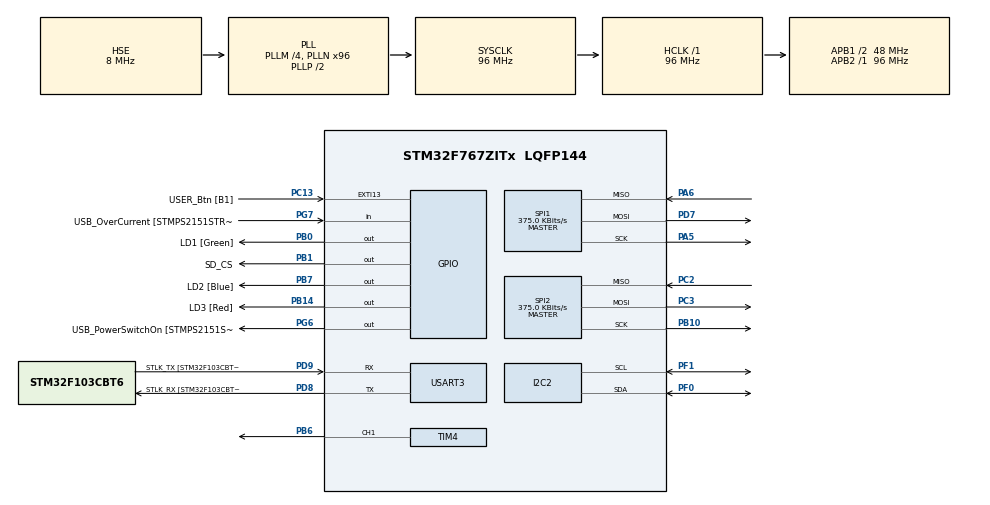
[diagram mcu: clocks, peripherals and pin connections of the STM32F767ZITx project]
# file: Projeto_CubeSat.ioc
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FATFS._FS_REENTRANT=0
FATFS._USE_MUTEX=1
FREERTOS.Tasks01=defaultTask,24,128,StartDefaultTask,Default,NULL,Dynamic,NULL,NULL;BaroTask,32,512,StartBaroTask,Default,NULL,Dynamic,NULL,NULL;LoggerTask,16,512,StartLoggerTask,Default,NULL,Dynamic,NULL,NULL;CommTask,33,512,StartCommTask,Default,NULL,Dynamic,NULL,NULL;BuzzerTask,8,128,StartBuzzerTask,Default,NULL,Dynamic,NULL,NULL;CommandTask,38,512,StartCommandTask,Default,NULL,Dynamic,NULL,NULL;CriticalCommand,40,512,StartCriticalCommandTask,Default,NULL,Dynamic,NULL,NULL;GyroTask,32,512,StartGyroTask,Default,NULL,Dynamic,NULL,NULL;AccTask,32,128,StartAccTask,Default,NULL,Dynamic,NULL,NULL
FREERTOS.configTOTAL_HEAP_SIZE=24576
FREERTOS.configUSE_NEWLIB_REENTRANT=1
I2C2.Timing=0x20303E5D
Mcu.Family=STM32F7
Mcu.Name=STM32F767ZITx
Mcu.Package=LQFP144
NVIC.EXTI15_10_IRQn=true\:5\:0\:false\:false\:true\:true\:true\:true\:true
NVIC.PriorityGroup=NVIC_PRIORITYGROUP_4
NVIC.TIM3_IRQn=true\:5\:0\:false\:false\:true\:true\:true\:true\:true
NVIC.TIM6_DAC_IRQn=true\:15\:0\:false\:false\:true\:false\:false\:true\:true
NVIC.TimeBase=TIM6_DAC_IRQn
NVIC.TimeBaseIP=TIM6
NVIC.USART3_IRQn=true\:5\:0\:false\:false\:true\:true\:true\:true\:true
PA1.GPIO_Label=RMII_REF_CLK [LAN8742A-CZ-TR_REFCLK0]
PA1.Signal=ETH_REF_CLK
PA10.GPIO_Label=USB_ID
PA10.Signal=USB_OTG_FS_ID
PA11.GPIO_Label=USB_DM
PA11.Signal=USB_OTG_FS_DM
PA12.GPIO_Label=USB_DP
PA12.Signal=USB_OTG_FS_DP
PA13.GPIO_Label=TMS
PA13.Signal=SYS_JTMS-SWDIO
PA14.GPIO_Label=TCK
PA14.Signal=SYS_JTCK-SWCLK
PA2.GPIO_Label=RMII_MDIO [LAN8742A-CZ-TR_MDIO]
PA2.Signal=ETH_MDIO
PA5.Mode=Full_Duplex_Master
PA5.Signal=SPI1_SCK
PA6.Mode=Full_Duplex_Master
PA6.Signal=SPI1_MISO
PA7.GPIO_Label=RMII_CRS_DV [LAN8742A-CZ-TR_CRS_DV]
PA7.Signal=ETH_CRS_DV
PA8.Signal=USB_OTG_FS_SOF
PA9.GPIO_Label=USB_VBUS
PA9.Signal=USB_OTG_FS_VBUS
PB0.GPIO_Label=LD1 [Green]
PB0.Signal=GPIO_Output
PB1.GPIO_Label=SD_CS
PB1.Signal=GPIO_Output
PB10.Mode=Full_Duplex_Master
PB10.Signal=SPI2_SCK
PB13.GPIO_Label=RMII_TXD1 [LAN8742A-CZ-TR_TXD1]
PB13.Signal=ETH_TXD1
PB14.GPIO_Label=LD3 [Red]
PB14.Signal=GPIO_Output
PB3.GPIO_Label=SW0
PB3.Signal=SYS_JTDO-SWO
PB6.Signal=S_TIM4_CH1
PB7.GPIO_Label=LD2 [Blue]
PB7.Signal=GPIO_Output
PC1.GPIO_Label=RMII_MDC [LAN8742A-CZ-TR_MDC]
PC1.Signal=ETH_MDC
PC13.GPIO_Label=USER_Btn [B1]
PC13.Signal=GPXTI13
PC14/OSC32_IN.Mode=LSE-External-Oscillator
PC14/OSC32_IN.Signal=RCC_OSC32_IN
PC15/OSC32_OUT.Mode=LSE-External-Oscillator
PC15/OSC32_OUT.Signal=RCC_OSC32_OUT
PC2.Mode=Full_Duplex_Master
PC2.Signal=SPI2_MISO
PC3.Mode=Full_Duplex_Master
PC3.Signal=SPI2_MOSI
PC4.GPIO_Label=RMII_RXD0 [LAN8742A-CZ-TR_RXD0]
PC4.Signal=ETH_RXD0
PC5.GPIO_Label=RMII_RXD1 [LAN8742A-CZ-TR_RXD1]
PC5.Signal=ETH_RXD1
PD7.Mode=Full_Duplex_Master
PD7.Signal=SPI1_MOSI
PD8.GPIO_Label=STLK_RX [STM32F103CBT6_PA3]
PD8.Mode=Asynchronous
PD8.Signal=USART3_TX
PD9.GPIO_Label=STLK_TX [STM32F103CBT6_PA2]
PD9.Mode=Asynchronous
PD9.Signal=USART3_RX
PF0.Mode=I2C
PF0.Signal=I2C2_SDA
PF1.Mode=I2C
PF1.Signal=I2C2_SCL
PG11.GPIO_Label=RMII_TX_EN [LAN8742A-CZ-TR_TXEN]
PG11.Signal=ETH_TX_EN
PG13.GPIO_Label=RMII_TXD0 [LAN8742A-CZ-TR_TXD0]
PG13.Signal=ETH_TXD0
PG6.GPIO_Label=USB_PowerSwitchOn [STMPS2151STR_EN]
PG6.Signal=GPIO_Output
PG7.GPIO_Label=USB_OverCurrent [STMPS2151STR_FAULT]
PG7.Signal=GPIO_Input
PH0/OSC_IN.GPIO_Label=MCO [STM32F103CBT6_PA8]
PH0/OSC_IN.Mode=HSE-External-Clock-Source
PH0/OSC_IN.Signal=RCC_OSC_IN
PH1/OSC_OUT.Mode=HSE-External-Clock-Source
PH1/OSC_OUT.Signal=RCC_OSC_OUT
ProjectManager.HeapSize=0x200
ProjectManager.StackSize=0x400
ProjectManager.TargetToolchain=STM32CubeIDE
RCC.48MHZClocksFreq_Value=24000000
RCC.AHBFreq_Value=96000000
RCC.APB1CLKDivider=RCC_HCLK_DIV2
RCC.APB1Freq_Value=48000000
RCC.APB1TimFreq_Value=96000000
RCC.APB2Freq_Value=96000000
RCC.APB2TimFreq_Value=96000000
RCC.CortexFreq_Value=96000000
RCC.HCLKFreq_Value=96000000
RCC.HSE_VALUE=8000000
RCC.HSI_VALUE=16000000
RCC.PLLM=4
RCC.PLLMUL=RCC_PLL_MUL9
RCC.PLLN=96
RCC.PLLSourceVirtual=RCC_PLLSOURCE_HSE
RCC.PRESCALERUSB=RCC_USBCLKSOURCE_PLL_DIV1_5
RCC.SYSCLKFreq_VALUE=96000000
RCC.SYSCLKSource=RCC_SYSCLKSOURCE_PLLCLK
RCC.SYSCLKSourceVirtual=RCC_SYSCLKSOURCE_PLLCLK
RCC.USBFreq_Value=96000000
RCC.VCOOutputFreq_Value=192000000
SH.S_TIM4_CH1.0=TIM4_CH1,PWM Generation1 CH1
SPI1.BaudRatePrescaler=SPI_BAUDRATEPRESCALER_256
SPI1.CalculateBaudRate=375.0 KBits/s
SPI1.DataSize=SPI_DATASIZE_8BIT
SPI1.Direction=SPI_DIRECTION_2LINES
SPI1.Mode=SPI_MODE_MASTER
SPI1.VirtualType=VM_MASTER
SPI2.BaudRatePrescaler=SPI_BAUDRATEPRESCALER_128
SPI2.CalculateBaudRate=375.0 KBits/s
SPI2.DataSize=SPI_DATASIZE_8BIT
SPI2.Direction=SPI_DIRECTION_2LINES
SPI2.Mode=SPI_MODE_MASTER
SPI2.VirtualType=VM_MASTER
TIM3.AutoReloadPreload=TIM_AUTORELOAD_PRELOAD_ENABLE
TIM3.Period=1500
TIM3.Prescaler=16000
TIM4.Channel-PWM\ Generation1\ CH1=TIM_CHANNEL_1
TIM4.Period=999
TIM4.Prescaler=15
USART3.VirtualMode-Asynchronous=VM_ASYNC
VP_FATFS_VS_Generic.Mode=User_defined
VP_FREERTOS_VS_CMSIS_V2.Mode=CMSIS_V2
VP_SYS_VS_tim6.Mode=TIM6
VP_TIM3_VS_ClockSourceINT.Mode=Internal
VP_TIM4_VS_ClockSourceINT.Mode=Internal
board=NUCLEO-F767ZI

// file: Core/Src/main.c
/* USER CODE BEGIN Header */
/**
  ******************************************************************************
  * @file           : main.c
  * @brief          : Main program body
  ******************************************************************************
  * @attention
  *
  * Copyright (c) 2025 STMicroelectronics.
  * All rights reserved.
  *
  * This software is licensed under terms that can be found in the LICENSE file
  * in the root directory of this software component.
  * If no LICENSE file comes with this software, it is provided AS-IS.
  *
  ******************************************************************************
  */
/* USER CODE END Header */
#include "main.h"
#include "cmsis_os.h"
#include "fatfs.h"

/* USER CODE BEGIN Includes */
#include <stdio.h>
#include <math.h>
#include "bmp280.h"
#include <string.h>
#include <stdarg.h>
#include "LoggerService.h"
#include "Barometer.h"
#include "Accelerometer.h"
#include "Gyroscope.h"
#include "UartService.h"
#include "SDCard.h"
/* USER CODE END Includes */

I2C_HandleTypeDef hi2c2;

SPI_HandleTypeDef hspi1;
SPI_HandleTypeDef hspi2;

TIM_HandleTypeDef htim3;
TIM_HandleTypeDef htim4;

UART_HandleTypeDef huart3;

/* Definitions for defaultTask */
osThreadId_t defaultTaskHandle;
const osThreadAttr_t defaultTask_attributes = {
  .name = "defaultTask",
  .stack_size = 128 * 4,
  .priority = (osPriority_t) osPriorityNormal,
};
/* Definitions for BaroTask */
osThreadId_t BaroTaskHandle;
const osThreadAttr_t BaroTask_attributes = {
  .name = "BaroTask",
  .stack_size = 512 * 4,
  .priority = (osPriority_t) osPriorityAboveNormal,
};
/* Definitions for LoggerTask */
osThreadId_t LoggerTaskHandle;
const osThreadAttr_t LoggerTask_attributes = {
  .name = "LoggerTask",
  .stack_size = 512 * 4,
  .priority = (osPriority_t) osPriorityBelowNormal,
};
/* Definitions for CommTask */
osThreadId_t CommTaskHandle;
const osThreadAttr_t CommTask_attributes = {
  .name = "CommTask",
  .stack_size = 512 * 4,
  .priority = (osPriority_t) osPriorityAboveNormal1,
};
/* Definitions for BuzzerTask */
osThreadId_t BuzzerTaskHandle;
const osThreadAttr_t BuzzerTask_attributes = {
  .name = "BuzzerTask",
  .stack_size = 128 * 4,
  .priority = (osPriority_t) osPriorityLow,
};
/* Definitions for CommandTask */
osThreadId_t CommandTaskHandle;
const osThreadAttr_t CommandTask_attributes = {
  .name = "CommandTask",
  .stack_size = 512 * 4,
  .priority = (osPriority_t) osPriorityAboveNormal6,
};
/* Definitions for CriticalCommand */
osThreadId_t CriticalCommandHandle;
const osThreadAttr_t CriticalCommand_attributes = {
  .name = "CriticalCommand",
  .stack_size = 512 * 4,
  .priority = (osPriority_t) osPriorityHigh,
};
/* Definitions for GyroTask */
osThreadId_t GyroTaskHandle;
const osThreadAttr_t GyroTask_attributes = {
  .name = "GyroTask",
  .stack_size = 512 * 4,
  .priority = (osPriority_t) osPriorityAboveNormal,
};
/* Definitions for AccTask */
osThreadId_t AccTaskHandle;
const osThreadAttr_t AccTask_attributes = {
  .name = "AccTask",
  .stack_size = 128 * 4,
  .priority = (osPriority_t) osPriorityAboveNormal,
};
/* USER CODE BEGIN PV */
BMP280_HandleTypedef bmp280;
float pressure, temperature, humidity;
uint16_t size;
volatile bool buzzer_enabled = true;
osMessageQueueId_t loggerQueueHandle;
osMessageQueueId_t commQueueHandle;
osMessageQueueId_t uartQueueHandle;
osMessageQueueId_t commandQueueHandle;
osMessageQueueId_t criticalCommandQueueHandle;
osMutexId_t sdMutexHandle;
uint8_t rx_byte;
uint8_t sat_location = 1; // 1 = terra, 2 = em lançamento, 3 = em órbita
/* USER CODE END PV */

void SystemClock_Config(void);
static void MX_GPIO_Init(void);
static void MX_USART3_UART_Init(void);
static void MX_TIM3_Init(void);
static void MX_I2C2_Init(void);
static void MX_SPI2_Init(void);
static void MX_TIM4_Init(void);
static void MX_SPI1_Init(void);
void StartDefaultTask(void *argument);
void StartBaroTask(void *argument);
void StartLoggerTask(void *argument);
void StartCommTask(void *argument);
void StartBuzzerTask(void *argument);
void StartCommandTask(void *argument);
void StartCriticalCommandTask(void *argument);
void StartGyroTask(void *argument);
void StartAccTask(void *argument);

/* USER CODE BEGIN PFP */
bool ReadBarometer();
/* USER CODE END PFP */

/* USER CODE BEGIN 0 */
int _write(int file, char *ptr, int len){
	(void)file;
	int DataIdx;

	for (DataIdx = 0; DataIdx < len; DataIdx++)
		HAL_UART_Transmit(&huart3, (uint8_t*) &ptr[DataIdx], 1, 100);

	return len;
}
/* USER CODE END 0 */

int main(void)
{

  /* MCU Configuration--------------------------------------------------------*/

  /* Reset of all peripherals, Initializes the Flash interface and the Systick. */
  HAL_Init();

  /* Configure the system clock */
  SystemClock_Config();

  /* Initialize all configured peripherals */
  MX_GPIO_Init();
  MX_USART3_UART_Init();
  MX_TIM3_Init();
  MX_I2C2_Init();
  MX_SPI2_Init();
  MX_TIM4_Init();
  MX_FATFS_Init();
  MX_SPI1_Init();
  /* USER CODE BEGIN 2 */
  Barometer_Init(&hi2c2);
  HAL_TIM_Base_Start_IT(&htim3);
  if (!SDCard_Init()) {
      printf("Failed to initialize SD card\r\n");
  } else {
      printf("SD card initialized\r\n");
  }
  HAL_UART_Receive_IT(&huart3, &rx_byte, 1);
  /* USER CODE END 2 */

  /* Init scheduler */
  osKernelInitialize();

  /* USER CODE BEGIN RTOS_MUTEX */
  sdMutexHandle = osMutexNew(NULL);
  /* USER CODE END RTOS_MUTEX */

  /* USER CODE BEGIN RTOS_QUEUES */
  loggerQueueHandle  		 = osMessageQueueNew(10, sizeof(BarometerData), NULL);
  commQueueHandle    		 = osMessageQueueNew(10, sizeof(CommMessage), NULL);
  uartQueueHandle 	 		 = osMessageQueueNew(10, sizeof(UartMessage), NULL);
  commandQueueHandle 		 = osMessageQueueNew(10, sizeof(char), NULL);
  criticalCommandQueueHandle = osMessageQueueNew(10, sizeof(char), NULL);
  /* USER CODE END RTOS_QUEUES */

  /* Create the thread(s) */
  /* creation of defaultTask */
  defaultTaskHandle = osThreadNew(StartDefaultTask, NULL, &defaultTask_attributes);

  /* creation of BaroTask */
  BaroTaskHandle = osThreadNew(StartBaroTask, NULL, &BaroTask_attributes);

  /* creation of LoggerTask */
  LoggerTaskHandle = osThreadNew(StartLoggerTask, NULL, &LoggerTask_attributes);

  /* creation of CommTask */
  CommTaskHandle = osThreadNew(StartCommTask, NULL, &CommTask_attributes);

  /* creation of BuzzerTask */
  BuzzerTaskHandle = osThreadNew(StartBuzzerTask, NULL, &BuzzerTask_attributes);

  /* creation of CommandTask */
  CommandTaskHandle = osThreadNew(StartCommandTask, NULL, &CommandTask_attributes);

  /* creation of CriticalCommand */
  CriticalCommandHandle = osThreadNew(StartCriticalCommandTask, NULL, &CriticalCommand_attributes);

  /* creation of GyroTask */
  GyroTaskHandle = osThreadNew(StartGyroTask, NULL, &GyroTask_attributes);

  /* creation of AccTask */
  AccTaskHandle = osThreadNew(StartAccTask, NULL, &AccTask_attributes);

  /* Start scheduler */
  osKernelStart();

  /* We should never get here as control is now taken by the scheduler */

  /* Infinite loop */
  while (1)
  {

  }
}

void SystemClock_Config(void)
{
  RCC_OscInitTypeDef RCC_OscInitStruct = {0};
  RCC_ClkInitTypeDef RCC_ClkInitStruct = {0};

  /** Configure LSE Drive Capability
  */
  HAL_PWR_EnableBkUpAccess();

  /** Configure the main internal regulator output voltage
  */
  __HAL_RCC_PWR_CLK_ENABLE();
  __HAL_PWR_VOLTAGESCALING_CONFIG(PWR_REGULATOR_VOLTAGE_SCALE3);

  /** Initializes the RCC Oscillators according to the specified parameters
  * in the RCC_OscInitTypeDef structure.
  */
  RCC_OscInitStruct.OscillatorType = RCC_OSCILLATORTYPE_HSE;
  RCC_OscInitStruct.HSEState = RCC_HSE_BYPASS;
  RCC_OscInitStruct.PLL.PLLState = RCC_PLL_ON;
  RCC_OscInitStruct.PLL.PLLSource = RCC_PLLSOURCE_HSE;
  RCC_OscInitStruct.PLL.PLLM = 4;
  RCC_OscInitStruct.PLL.PLLN = 96;
  RCC_OscInitStruct.PLL.PLLP = RCC_PLLP_DIV2;
  RCC_OscInitStruct.PLL.PLLQ = 2;
  RCC_OscInitStruct.PLL.PLLR = 2;
  if (HAL_RCC_OscConfig(&RCC_OscInitStruct) != HAL_OK)
  {
    Error_Handler();
  }

  /** Activate the Over-Drive mode
  */
  if (HAL_PWREx_EnableOverDrive() != HAL_OK)
  {
    Error_Handler();
  }

  /** Initializes the CPU, AHB and APB buses clocks
  */
  RCC_ClkInitStruct.ClockType = RCC_CLOCKTYPE_HCLK|RCC_CLOCKTYPE_SYSCLK
                              |RCC_CLOCKTYPE_PCLK1|RCC_CLOCKTYPE_PCLK2;
  RCC_ClkInitStruct.SYSCLKSource = RCC_SYSCLKSOURCE_PLLCLK;
  RCC_ClkInitStruct.AHBCLKDivider = RCC_SYSCLK_DIV1;
  RCC_ClkInitStruct.APB1CLKDivider = RCC_HCLK_DIV2;
  RCC_ClkInitStruct.APB2CLKDivider = RCC_HCLK_DIV1;

  if (HAL_RCC_ClockConfig(&RCC_ClkInitStruct, FLASH_LATENCY_3) != HAL_OK)
  {
    Error_Handler();
  }
}

static void MX_I2C2_Init(void)
{

  hi2c2.Instance = I2C2;
  hi2c2.Init.Timing = 0x20303E5D;
  hi2c2.Init.OwnAddress1 = 0;
  hi2c2.Init.AddressingMode = I2C_ADDRESSINGMODE_7BIT;
  hi2c2.Init.DualAddressMode = I2C_DUALADDRESS_DISABLE;
  hi2c2.Init.OwnAddress2 = 0;
  hi2c2.Init.OwnAddress2Masks = I2C_OA2_NOMASK;
  hi2c2.Init.GeneralCallMode = I2C_GENERALCALL_DISABLE;
  hi2c2.Init.NoStretchMode = I2C_NOSTRETCH_DISABLE;
  if (HAL_I2C_Init(&hi2c2) != HAL_OK)
  {
    Error_Handler();
  }

  /** Configure Analogue filter
  */
  if (HAL_I2CEx_ConfigAnalogFilter(&hi2c2, I2C_ANALOGFILTER_ENABLE) != HAL_OK)
  {
    Error_Handler();
  }

  /** Configure Digital filter
  */
  if (HAL_I2CEx_ConfigDigitalFilter(&hi2c2, 0) != HAL_OK)
  {
    Error_Handler();
  }

}

static void MX_SPI1_Init(void)
{

  /* SPI1 parameter configuration*/
  hspi1.Instance = SPI1;
  hspi1.Init.Mode = SPI_MODE_MASTER;
  hspi1.Init.Direction = SPI_DIRECTION_2LINES;
  hspi1.Init.DataSize = SPI_DATASIZE_8BIT;
  hspi1.Init.CLKPolarity = SPI_POLARITY_LOW;
  hspi1.Init.CLKPhase = SPI_PHASE_1EDGE;
  hspi1.Init.NSS = SPI_NSS_SOFT;
  hspi1.Init.BaudRatePrescaler = SPI_BAUDRATEPRESCALER_256;
  hspi1.Init.FirstBit = SPI_FIRSTBIT_MSB;
  hspi1.Init.TIMode = SPI_TIMODE_DISABLE;
  hspi1.Init.CRCCalculation = SPI_CRCCALCULATION_DISABLE;
  hspi1.Init.CRCPolynomial = 7;
  hspi1.Init.CRCLength = SPI_CRC_LENGTH_DATASIZE;
  hspi1.Init.NSSPMode = SPI_NSS_PULSE_ENABLE;
  if (HAL_SPI_Init(&hspi1) != HAL_OK)
  {
    Error_Handler();
  }

}

static void MX_SPI2_Init(void)
{

  /* SPI2 parameter configuration*/
  hspi2.Instance = SPI2;
  hspi2.Init.Mode = SPI_MODE_MASTER;
  hspi2.Init.Direction = SPI_DIRECTION_2LINES;
  hspi2.Init.DataSize = SPI_DATASIZE_8BIT;
  hspi2.Init.CLKPolarity = SPI_POLARITY_LOW;
  hspi2.Init.CLKPhase = SPI_PHASE_1EDGE;
  hspi2.Init.NSS = SPI_NSS_SOFT;
  hspi2.Init.BaudRatePrescaler = SPI_BAUDRATEPRESCALER_128;
  hspi2.Init.FirstBit = SPI_FIRSTBIT_MSB;
  hspi2.Init.TIMode = SPI_TIMODE_DISABLE;
  hspi2.Init.CRCCalculation = SPI_CRCCALCULATION_DISABLE;
  hspi2.Init.CRCPolynomial = 7;
  hspi2.Init.CRCLength = SPI_CRC_LENGTH_DATASIZE;
  hspi2.Init.NSSPMode = SPI_NSS_PULSE_ENABLE;
  if (HAL_SPI_Init(&hspi2) != HAL_OK)
  {
    Error_Handler();
  }

}

static void MX_TIM3_Init(void)
{

  TIM_ClockConfigTypeDef sClockSourceConfig = {0};
  TIM_MasterConfigTypeDef sMasterConfig = {0};

  htim3.Instance = TIM3;
  htim3.Init.Prescaler = 16000;
  htim3.Init.CounterMode = TIM_COUNTERMODE_UP;
  htim3.Init.Period = 1500;
  htim3.Init.ClockDivision = TIM_CLOCKDIVISION_DIV1;
  htim3.Init.AutoReloadPreload = TIM_AUTORELOAD_PRELOAD_ENABLE;
  if (HAL_TIM_Base_Init(&htim3) != HAL_OK)
  {
    Error_Handler();
  }
  sClockSourceConfig.ClockSource = TIM_CLOCKSOURCE_INTERNAL;
  if (HAL_TIM_ConfigClockSource(&htim3, &sClockSourceConfig) != HAL_OK)
  {
    Error_Handler();
  }
  sMasterConfig.MasterOutputTrigger = TIM_TRGO_RESET;
  sMasterConfig.MasterSlaveMode = TIM_MASTERSLAVEMODE_DISABLE;
  if (HAL_TIMEx_MasterConfigSynchronization(&htim3, &sMasterConfig) != HAL_OK)
  {
    Error_Handler();
  }

}

static void MX_TIM4_Init(void)
{

  TIM_ClockConfigTypeDef sClockSourceConfig = {0};
  TIM_MasterConfigTypeDef sMasterConfig = {0};
  TIM_OC_InitTypeDef sConfigOC = {0};

  htim4.Instance = TIM4;
  htim4.Init.Prescaler = 15;
  htim4.Init.CounterMode = TIM_COUNTERMODE_UP;
  htim4.Init.Period = 999;
  htim4.Init.ClockDivision = TIM_CLOCKDIVISION_DIV1;
  htim4.Init.AutoReloadPreload = TIM_AUTORELOAD_PRELOAD_DISABLE;
  if (HAL_TIM_Base_Init(&htim4) != HAL_OK)
  {
    Error_Handler();
  }
  sClockSourceConfig.ClockSource = TIM_CLOCKSOURCE_INTERNAL;
  if (HAL_TIM_ConfigClockSource(&htim4, &sClockSourceConfig) != HAL_OK)
  {
    Error_Handler();
  }
  if (HAL_TIM_PWM_Init(&htim4) != HAL_OK)
  {
    Error_Handler();
  }
  sMasterConfig.MasterOutputTrigger = TIM_TRGO_RESET;
  sMasterConfig.MasterSlaveMode = TIM_MASTERSLAVEMODE_DISABLE;
  if (HAL_TIMEx_MasterConfigSynchronization(&htim4, &sMasterConfig) != HAL_OK)
  {
    Error_Handler();
  }
  sConfigOC.OCMode = TIM_OCMODE_PWM1;
  sConfigOC.Pulse = 0;
  sConfigOC.OCPolarity = TIM_OCPOLARITY_HIGH;
  sConfigOC.OCFastMode = TIM_OCFAST_DISABLE;
  if (HAL_TIM_PWM_ConfigChannel(&htim4, &sConfigOC, TIM_CHANNEL_1) != HAL_OK)
  {
    Error_Handler();
  }
  HAL_TIM_MspPostInit(&htim4);

}

static void MX_USART3_UART_Init(void)
{

  huart3.Instance = USART3;
  huart3.Init.BaudRate = 115200;
  huart3.Init.WordLength = UART_WORDLENGTH_8B;
  huart3.Init.StopBits = UART_STOPBITS_1;
  huart3.Init.Parity = UART_PARITY_NONE;
  huart3.Init.Mode = UART_MODE_TX_RX;
  huart3.Init.HwFlowCtl = UART_HWCONTROL_NONE;
  huart3.Init.OverSampling = UART_OVERSAMPLING_16;
  huart3.Init.OneBitSampling = UART_ONE_BIT_SAMPLE_DISABLE;
  huart3.AdvancedInit.AdvFeatureInit = UART_ADVFEATURE_NO_INIT;
  if (HAL_UART_Init(&huart3) != HAL_OK)
  {
    Error_Handler();
  }

}

static void MX_GPIO_Init(void)
{
  GPIO_InitTypeDef GPIO_InitStruct = {0};

  /* GPIO Ports Clock Enable */
  __HAL_RCC_GPIOC_CLK_ENABLE();
  __HAL_RCC_GPIOF_CLK_ENABLE();
  __HAL_RCC_GPIOH_CLK_ENABLE();
  __HAL_RCC_GPIOA_CLK_ENABLE();
  __HAL_RCC_GPIOB_CLK_ENABLE();
  __HAL_RCC_GPIOD_CLK_ENABLE();
  __HAL_RCC_GPIOG_CLK_ENABLE();

  /*Configure GPIO pin Output Level */
  HAL_GPIO_WritePin(GPIOB, LD1_Pin|SD_CS_Pin|LD3_Pin|LD2_Pin, GPIO_PIN_RESET);

  /*Configure GPIO pin Output Level */
  HAL_GPIO_WritePin(USB_PowerSwitchOn_GPIO_Port, USB_PowerSwitchOn_Pin, GPIO_PIN_RESET);

  /*Configure GPIO pin : USER_Btn_Pin */
  GPIO_InitStruct.Pin = USER_Btn_Pin;
  GPIO_InitStruct.Mode = GPIO_MODE_IT_RISING;
  GPIO_InitStruct.Pull = GPIO_NOPULL;
  HAL_GPIO_Init(USER_Btn_GPIO_Port, &GPIO_InitStruct);

  /*Configure GPIO pins : RMII_MDC_Pin RMII_RXD0_Pin RMII_RXD1_Pin */
  GPIO_InitStruct.Pin = RMII_MDC_Pin|RMII_RXD0_Pin|RMII_RXD1_Pin;
  GPIO_InitStruct.Mode = GPIO_MODE_AF_PP;
  GPIO_InitStruct.Pull = GPIO_NOPULL;
  GPIO_InitStruct.Speed = GPIO_SPEED_FREQ_VERY_HIGH;
  GPIO_InitStruct.Alternate = GPIO_AF11_ETH;
  HAL_GPIO_Init(GPIOC, &GPIO_InitStruct);

  /*Configure GPIO pins : RMII_REF_CLK_Pin RMII_MDIO_Pin RMII_CRS_DV_Pin */
  GPIO_InitStruct.Pin = RMII_REF_CLK_Pin|RMII_MDIO_Pin|RMII_CRS_DV_Pin;
  GPIO_InitStruct.Mode = GPIO_MODE_AF_PP;
  GPIO_InitStruct.Pull = GPIO_NOPULL;
  GPIO_InitStruct.Speed = GPIO_SPEED_FREQ_VERY_HIGH;
  GPIO_InitStruct.Alternate = GPIO_AF11_ETH;
  HAL_GPIO_Init(GPIOA, &GPIO_InitStruct);

  /*Configure GPIO pins : LD1_Pin SD_CS_Pin LD3_Pin LD2_Pin */
  GPIO_InitStruct.Pin = LD1_Pin|SD_CS_Pin|LD3_Pin|LD2_Pin;
  GPIO_InitStruct.Mode = GPIO_MODE_OUTPUT_PP;
  GPIO_InitStruct.Pull = GPIO_NOPULL;
  GPIO_InitStruct.Speed = GPIO_SPEED_FREQ_LOW;
  HAL_GPIO_Init(GPIOB, &GPIO_InitStruct);

  /*Configure GPIO pin : RMII_TXD1_Pin */
  GPIO_InitStruct.Pin = RMII_TXD1_Pin;
  GPIO_InitStruct.Mode = GPIO_MODE_AF_PP;
  GPIO_InitStruct.Pull = GPIO_NOPULL;
  GPIO_InitStruct.Speed = GPIO_SPEED_FREQ_VERY_HIGH;
  GPIO_InitStruct.Alternate = GPIO_AF11_ETH;
  HAL_GPIO_Init(RMII_TXD1_GPIO_Port, &GPIO_InitStruct);

  /*Configure GPIO pin : USB_PowerSwitchOn_Pin */
  GPIO_InitStruct.Pin = USB_PowerSwitchOn_Pin;
  GPIO_InitStruct.Mode = GPIO_MODE_OUTPUT_PP;
  GPIO_InitStruct.Pull = GPIO_NOPULL;
  GPIO_InitStruct.Speed = GPIO_SPEED_FREQ_LOW;
  HAL_GPIO_Init(USB_PowerSwitchOn_GPIO_Port, &GPIO_InitStruct);

  /*Configure GPIO pin : USB_OverCurrent_Pin */
  GPIO_InitStruct.Pin = USB_OverCurrent_Pin;
  GPIO_InitStruct.Mode = GPIO_MODE_INPUT;
  GPIO_InitStruct.Pull = GPIO_NOPULL;
  HAL_GPIO_Init(USB_OverCurrent_GPIO_Port, &GPIO_InitStruct);

  /*Configure GPIO pins : PA8 USB_ID_Pin USB_DM_Pin USB_DP_Pin */
  GPIO_InitStruct.Pin = GPIO_PIN_8|USB_ID_Pin|USB_DM_Pin|USB_DP_Pin;
  GPIO_InitStruct.Mode = GPIO_MODE_AF_PP;
  GPIO_InitStruct.Pull = GPIO_NOPULL;
  GPIO_InitStruct.Speed = GPIO_SPEED_FREQ_VERY_HIGH;
  GPIO_InitStruct.Alternate = GPIO_AF10_OTG_FS;
  HAL_GPIO_Init(GPIOA, &GPIO_InitStruct);

  /*Configure GPIO pin : USB_VBUS_Pin */
  GPIO_InitStruct.Pin = USB_VBUS_Pin;
  GPIO_InitStruct.Mode = GPIO_MODE_INPUT;
  GPIO_InitStruct.Pull = GPIO_NOPULL;
  HAL_GPIO_Init(USB_VBUS_GPIO_Port, &GPIO_InitStruct);

  /*Configure GPIO pins : RMII_TX_EN_Pin RMII_TXD0_Pin */
  GPIO_InitStruct.Pin = RMII_TX_EN_Pin|RMII_TXD0_Pin;
  GPIO_InitStruct.Mode = GPIO_MODE_AF_PP;
  GPIO_InitStruct.Pull = GPIO_NOPULL;
  GPIO_InitStruct.Speed = GPIO_SPEED_FREQ_VERY_HIGH;
  GPIO_InitStruct.Alternate = GPIO_AF11_ETH;
  HAL_GPIO_Init(GPIOG, &GPIO_InitStruct);

  /* EXTI interrupt init*/
  HAL_NVIC_SetPriority(EXTI15_10_IRQn, 5, 0);
  HAL_NVIC_EnableIRQ(EXTI15_10_IRQn);

}

/* USER CODE BEGIN 4 */

void HAL_TIM_PeriodElapsedCallback(TIM_HandleTypeDef* htim)
{
	static GPIO_PinState led_state = GPIO_PIN_RESET;

	if (htim->Instance == TIM3) {

		led_state = (led_state == GPIO_PIN_RESET) ? GPIO_PIN_SET : GPIO_PIN_RESET;

		switch(sat_location)
		  {
			  case 1:
				  HAL_GPIO_WritePin(GPIOB, GPIO_PIN_14, led_state);
				  HAL_GPIO_WritePin(GPIOB, GPIO_PIN_7, GPIO_PIN_RESET);
				  HAL_GPIO_WritePin(GPIOB, GPIO_PIN_0, GPIO_PIN_RESET);
				  break;
			  case 2:
				  HAL_GPIO_WritePin(GPIOB, GPIO_PIN_14, led_state);
				  HAL_GPIO_WritePin(GPIOB, GPIO_PIN_7, led_state);
				  HAL_GPIO_WritePin(GPIOB, GPIO_PIN_0, GPIO_PIN_RESET);
				  break;
			  case 3:
				  HAL_GPIO_WritePin(GPIOB, GPIO_PIN_14, led_state);
				  HAL_GPIO_WritePin(GPIOB, GPIO_PIN_7, led_state);
				  HAL_GPIO_WritePin(GPIOB, GPIO_PIN_0, led_state);
				  break;
		  }
	}
}

void HAL_GPIO_EXTI_Callback(uint16_t GPIO_pin)
{
	if(GPIO_pin == USER_Btn_Pin)
	{
		if(sat_location < 3)
			sat_location++;
		else
			sat_location = 1;
	}
}

void HAL_UART_RxCpltCallback(UART_HandleTypeDef *huart)
{
	if(huart->Instance == USART3)
	{
		switch(rx_byte)
		{
			case 'r': //read bpm
			case 'b': //buzzer
				osMessageQueuePut(criticalCommandQueueHandle, &rx_byte, 0, 0);
				break;
			case 'e': // erase log
				osMessageQueuePut(commandQueueHandle, &rx_byte, 0, 0);
				break;
		}

		HAL_UART_Receive_IT(&huart3, &rx_byte, 1);
	}
}

bool ReadBarometer()
{
	  CommMessage msg;
	  BarometerData data;
	  if (!Barometer_Read(&data)) {
		  return false;
	  }

	  msg.type = MSG_TYPE_BAROMETER;
	  msg.payload.baro = data;
	  osMessageQueuePut(commQueueHandle, &msg, 0, 0);
	  osMessageQueuePut(loggerQueueHandle, &data, 0, 0);
	  return true;
}

bool ReadAccelerometer() //m/s^2
{
	CommMessage msg;
	msg.type = MSG_TYPE_ACCEL;

	switch(sat_location)
	{
		case 1:  // Em terra
			msg.payload.accel.x = 0.01f; // ruído
			msg.payload.accel.y = 0.02f; // ruído
			msg.payload.accel.z = 9.80f; // gravidade da terra
			break;

		case 2:  // Lançamento
			msg.payload.accel.x = 0.10f;  // vibração do foguete
			msg.payload.accel.y = 0.05f;  // vibração do foguete
			msg.payload.accel.z = 30.00f; // aceleração para escapar da gravidade
			break;

		case 3:  // Órbita
			msg.payload.accel.x = 0.01f; // ruído
			msg.payload.accel.y = 0.01f; // ruído
			msg.payload.accel.z = 0.00f; // microgravidade
			break;
	}

	osMessageQueuePut(commQueueHandle, &msg, 0, 0);
	return true;
}

bool ReadGyroscope() // º/s
{
	CommMessage msg;
	msg.type = MSG_TYPE_GYRO;

	switch(sat_location)
	{
		case 1:  // Em terra
			msg.payload.gyro.x = 0.00f; // estático
			msg.payload.gyro.y = 0.00f; // estático
			msg.payload.gyro.z = 0.01f; // ruído
			break;

		case 2:  // Lançamento
			msg.payload.gyro.x = 0.10f; // vibrações do foguete
			msg.payload.gyro.y = 0.05f; // vibrações do foguete
			msg.payload.gyro.z = 0.20f; // giro leve durante o lançamento
			break;

		case 3:  // Órbita
			msg.payload.gyro.x = 0.50f; // rotação lenta natural
			msg.payload.gyro.y = 0.30f; // rotação lenta natural
			msg.payload.gyro.z = 0.20f; // rotação lenta natural
			break;
	}

	osMessageQueuePut(commQueueHandle, &msg, 0, 0);
	return true;
}
/* USER CODE END 4 */

void StartDefaultTask(void *argument)
{
  for(;;)
  {
    osDelay(1);
  }
}

void StartBaroTask(void *argument)
{
  /* USER CODE BEGIN StartBaroTask */
  /* Infinite loop */
  for(;;)
  {
	  if(!ReadBarometer())
	  {
		  printf("Failed to read from barometer.\r\n");
		  osDelay(1000);
		  continue;
	  }

	  osDelay(5000);
  }
  /* USER CODE END StartBaroTask */
}

void StartLoggerTask(void *argument)
{
  /* USER CODE BEGIN StartLoggerTask */
  /* Infinite loop */
    BarometerData data;
	for(;;)
	{
		if(osMessageQueueGet(loggerQueueHandle, &data, NULL, osWaitForever) == osOK)
		{
			if (osMutexAcquire(sdMutexHandle, osWaitForever) == osOK)
			{
				LoggerService_LogBMPData(data);
				osMutexRelease(sdMutexHandle);
			}
			else
			{
				printf("Erro: mutex inválido ou corrompido!\n");
			}

		}
		//UBaseType_t highWaterMark = uxTaskGetStackHighWaterMark(NULL);
		//printf("LoggerTask stack remaining: %lu bytes\r\n", highWaterMark * sizeof(StackType_t));
		osDelay(1);
	}
  /* USER CODE END StartLoggerTask */
}

void StartCommTask(void *argument)
{
  /* USER CODE BEGIN StartCommTask */
  /* Infinite loop */
	CommMessage msg;
	for(;;)
	{
		if (osMessageQueueGet(commQueueHandle, &msg, NULL, osWaitForever) == osOK)
		{
			switch(msg.type)
			{
				case MSG_TYPE_BAROMETER:
					snprintf(msg.message, sizeof(msg.message),
						"Pressure=%.2f Pa, Temperature=%.2f °C, Altitude=%.2f m\r\n",
						msg.payload.baro.pressure,
						msg.payload.baro.temperature,
						msg.payload.baro.altitude);
					break;

				case MSG_TYPE_ACCEL:
					snprintf(msg.message, sizeof(msg.message),
						"ACC: X=%.2f Y=%.2f Z=%.2f\r\n",
						msg.payload.accel.x,
						msg.payload.accel.y,
						msg.payload.accel.z);
					break;

				case MSG_TYPE_GYRO:
					snprintf(msg.message, sizeof(msg.message),
						"GYRO: X=%.2f Y=%.2f Z=%.2f\r\n",
						msg.payload.gyro.x,
						msg.payload.gyro.y,
						msg.payload.gyro.z);
					break;

				default:
					snprintf(msg.message, sizeof(msg.message), "Unknown message\r\n");
					break;
			}

			HAL_UART_Transmit(&huart3, (uint8_t*)msg.message, strlen(msg.message), 100);
		}
		//UBaseType_t highWaterMark = uxTaskGetStackHighWaterMark(NULL);
		//printf("CommTask stack remaining: %lu bytes\r\n", highWaterMark * sizeof(StackType_t));
		osDelay(1);
	}

  /* USER CODE END StartCommTask */
}

void StartBuzzerTask(void *argument)
{
  /* USER CODE BEGIN StartBuzzerTask */
	printf("BuzzerTask initialized\r\n");
	uint32_t beep_interval = 1000;
  /* Infinite loop */
  for(;;)
  {
	  switch(sat_location)
	  {
		  case 1:
			  beep_interval = 1000;
			  break;
		  case 2:
			  beep_interval = 500;
			  break;
		  case 3:
			  beep_interval = 2000;
			  break;
	  }

	  if(buzzer_enabled)
	  {
		  // Liga o buzzer com duty cycle de 50%
		  HAL_TIM_PWM_Start(&htim4, TIM_CHANNEL_1);
		  __HAL_TIM_SET_COMPARE(&htim4, TIM_CHANNEL_1, htim4.Init.Period / 2);

		  osDelay(200); // Som por 200ms

		  // Desliga o som (mantém PWM ativo, mas duty = 0)
		  __HAL_TIM_SET_COMPARE(&htim4, TIM_CHANNEL_1, 0);
	  }
	  else
	  {
		  HAL_TIM_PWM_Stop(&htim4, TIM_CHANNEL_1);
	  }

	  osDelay(beep_interval);
  }
  /* USER CODE END StartBuzzerTask */
}

void StartCommandTask(void *argument)
{
  /* USER CODE BEGIN StartCommandTask */
  /* Infinite loop */
  for(;;)
  {
	  uint8_t command;
	  if(osMessageQueueGet(commandQueueHandle, &command, NULL, osWaitForever) == osOK)
	  {
		    switch(command)
			{
				case 'e': // erase log
					if (osMutexAcquire(sdMutexHandle, osWaitForever) == osOK)
					{
						LoggerService_ClearBmpLogFile();
						osMutexRelease(sdMutexHandle);
					}
					else
					{
						printf("Erro: mutex inválido ou corrompido!\n");
					}

					break;
			}
	  }

	  osDelay(1);
  }
  /* USER CODE END StartCommandTask */
}

void StartCriticalCommandTask(void *argument)
{
  /* USER CODE BEGIN StartCriticalCommandTask */
  /* Infinite loop */

  for(;;)
  {
	  uint8_t command;
	  if(osMessageQueueGet(criticalCommandQueueHandle, &command, NULL, osWaitForever) == osOK)
	  {
		  switch(command)
		  {
	  		  case 'r': //read bpm
	  			  ReadBarometer();
	  			  break;
			  case 'b': //buzzer
				  buzzer_enabled = !buzzer_enabled;
				  break;
		  }
	  }

    osDelay(1);
  }
  /* USER CODE END StartCriticalCommandTask */
}

void StartGyroTask(void *argument)
{
  /* USER CODE BEGIN StartGyroTask */

	uint32_t gyro_interval = 10000;
  /* Infinite loop */
	for(;;)
	{
		switch(sat_location)
		{
		  case 1:
			  gyro_interval = 10000;
			  break;
		  case 2:
			  gyro_interval = 5000;
			  break;
		  case 3:
			  gyro_interval = 1000;
			  break;
		}

		if(!ReadGyroscope())
		{
			printf("Failed to read from gyroscope.\r\n");
			osDelay(1000);
			continue;
		}

		osDelay(gyro_interval);
	}
  /* USER CODE END StartGyroTask */
}

void StartAccTask(void *argument)
{
  /* USER CODE BEGIN StartAccTask */
	uint32_t acc_interval = 10000;
  /* Infinite loop */
	for(;;)
	{
		switch(sat_location)
		{
		  case 1:
			  acc_interval = 5000;
			  break;
		  case 2:
			  acc_interval = 1000;
			  break;
		  case 3:
			  acc_interval = 10000;
			  break;
		}

		if(!ReadAccelerometer())
		{
			printf("Failed to read from acelerometer.\r\n");
			osDelay(1000);
			continue;
		}

		osDelay(acc_interval);
	}
  /* USER CODE END StartAccTask */
}

void Error_Handler(void)
{
  /* USER CODE BEGIN Error_Handler_Debug */
  /* User can add his own implementation to report the HAL error return state */
  __disable_irq();
  SDCard_Deinit();
  while (1)
  {
  }
  /* USER CODE END Error_Handler_Debug */
}
